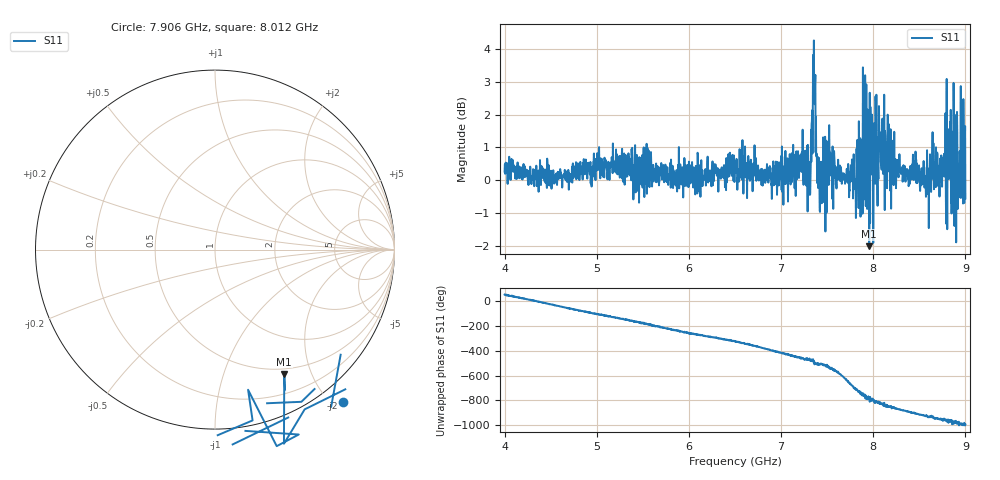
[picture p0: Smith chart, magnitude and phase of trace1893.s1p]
! Created with skrf 1.8.0 (http://scikit-rf.org).
# Hz S RI R 50.0
!freq ReS11 ImS11
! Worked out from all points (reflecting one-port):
!   1601 points, 4 GHz to 9 GHz, reference 50 ohm
!   lowest |S11| = -2.0 dB at 7.956 GHz (marker M1), VSWR 8.66, Z = 21.6 - j80.8 ohm
!   phase of S11 starts at 52 deg and turns -1047 deg over the sweep
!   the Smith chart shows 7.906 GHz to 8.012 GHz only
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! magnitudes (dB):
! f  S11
! 4 GHz  0.3
! 4.625 GHz  -0.2
! 5.25 GHz  0.1
! 5.875 GHz  0.1
! 6.5 GHz  0.4
! 7.125 GHz  0.5
! 7.297 GHz  0.5
! 7.319 GHz  0.1
! 7.347 GHz  3.8
! 7.356 GHz  4.3
! 7.372 GHz  3.2
! 7.4 GHz  0.3
! 7.428 GHz  0.3
! 7.538 GHz  0.7
! 7.578 GHz  0.7
! 7.75 GHz  0.2
! 7.816 GHz  -0.1
! 7.9 GHz  0.2
! 7.956 GHz  -2.0
! 8.134 GHz  0.3
! 8.197 GHz  0.3
! 8.375 GHz  0.3
! 8.45 GHz  0.4
! 8.581 GHz  0.0
! 8.822 GHz  1.2
! 8.875 GHz  1.5
! 8.972 GHz  0.3
! 9 GHz  -0.6
